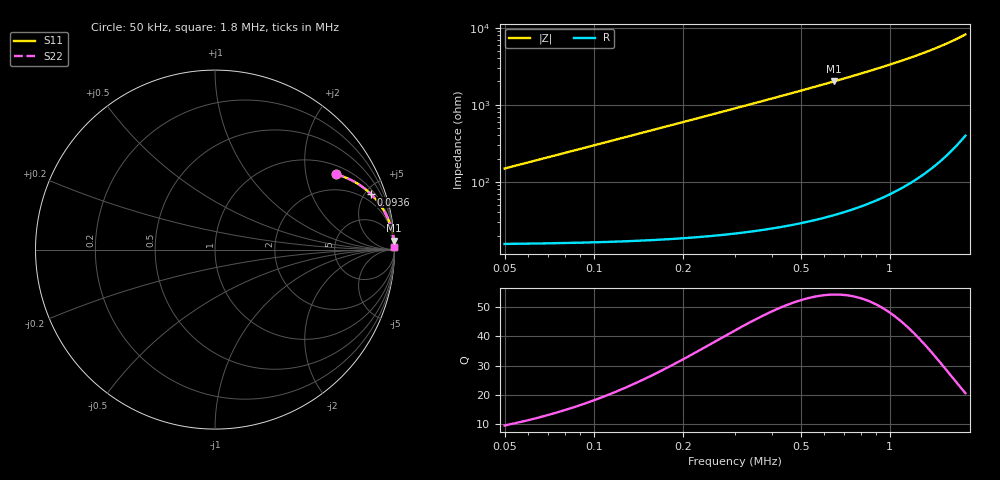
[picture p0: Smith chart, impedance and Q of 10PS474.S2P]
! Coilcraft 1008PS-474 Power Chip Inductor
! 7 October 2002
# MHZ S MA R 50
!Freq  MagS11  AngS11  MagS21  AngS21  MagS12  AngS12  MagS22  AngS22
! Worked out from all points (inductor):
!   403 points, 50 kHz to 1.8 MHz, reference 50 ohm
!   read as one part in series: L = 470 uH near 58.72 kHz
!   highest Q = 54.4 at 647.3 kHz (marker M1), where L = 492 uH
!   S11 on the Smith chart (normalised r, x): 50 kHz: 1.31, +2.95; 93.6 kHz: 1.33, +5.53; 1.8 MHz: open
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0.05  0.7918 32.0  0.5332 -51.9  0.5332 -51.9  0.7918 32.0
0.05872  0.8353 28.5  0.4796 -56.3  0.4796 -56.3  0.8353 28.5
0.0718  0.88 24.4  0.4137 -61.3  0.4137 -61.3  0.88 24.4
0.08052  0.9009 22.1  0.3777 -64.0  0.3777 -64.0  0.9009 22.1
0.0936  0.9235 19.4  0.3332 -67.2  0.3332 -67.2  0.9235 19.4
0.11104  0.9436 16.7  0.287 -70.5  0.287 -70.5  0.9436 16.7
0.13284  0.9593 14.1  0.2439 -73.4  0.2439 -73.4  0.9593 14.1
0.16336  0.9723 11.6  0.2008 -76.3  0.2008 -76.3  0.9723 11.6
0.19388  0.98 9.8  0.1704 -78.4  0.1704 -78.4  0.98 9.8
0.2244  0.9848 8.5  0.1477 -79.9  0.1477 -79.9  0.9848 8.5
0.25928  0.9884 7.4  0.1281 -81.2  0.1281 -81.2  0.9884 7.4
0.34212  0.9931 5.6  0.09704 -83.2  0.09704 -83.2  0.9931 5.6
0.40316  0.9949 4.7  0.08209 -84.1  0.08209 -84.1  0.9949 4.7
0.47292  0.9962 4.0  0.06961 -84.9  0.06961 -84.9  0.9962 4.0
0.5514  0.9971 3.4  0.05923 -85.5  0.05923 -85.5  0.9971 3.4
0.63424  0.9978 2.9  0.05096 -86.0  0.05096 -86.0  0.9978 2.9
0.64732  0.9978 2.9  0.04984 -86.1  0.04984 -86.1  0.9978 2.9
0.77812  0.9984 2.3  0.04062 -86.6  0.04062 -86.6  0.9984 2.3
0.92636  0.9988 1.9  0.03314 -87.0  0.03314 -87.0  0.9988 1.9
1.21848  0.9992 1.3  0.02334 -87.3  0.02334 -87.3  0.9992 1.3
1.5106  0.9993 1.0  0.01691 -87.1  0.01691 -87.1  0.9993 1.0
1.8  0.9993 0.7  0.01227 -86.5  0.01227 -86.5  0.9993 0.7
